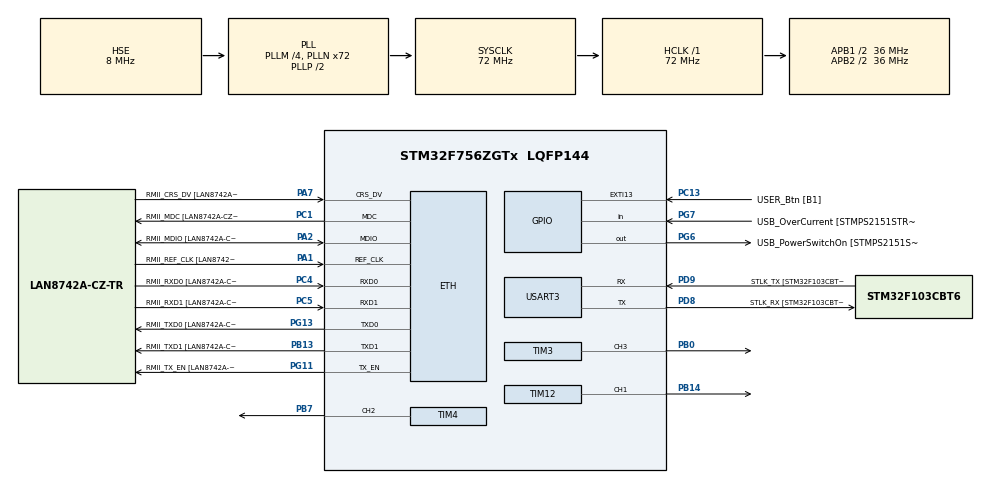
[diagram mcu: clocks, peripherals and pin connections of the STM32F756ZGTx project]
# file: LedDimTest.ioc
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ETH.MediaInterface=HAL_ETH_RMII_MODE
ETH.PHY_Name=LAN8742A_PHY_ADDRESS
ETH.PHY_Value=0
ETH.PhyAddress=0
Mcu.Family=STM32F7
Mcu.Name=STM32F756ZGTx
Mcu.Package=LQFP144
NVIC.PriorityGroup=NVIC_PRIORITYGROUP_4
NVIC.TIM3_IRQn=true\:0\:0\:false\:false\:true\:true\:true\:true
PA1.GPIO_Label=RMII_REF_CLK [LAN8742A-CZ-TR_REFCLK0]
PA1.Mode=RMII
PA1.Signal=ETH_REF_CLK
PA10.GPIO_Label=USB_ID
PA10.Signal=USB_OTG_FS_ID
PA11.GPIO_Label=USB_DM
PA11.Signal=USB_OTG_FS_DM
PA12.GPIO_Label=USB_DP
PA12.Signal=USB_OTG_FS_DP
PA13.GPIO_Label=TMS
PA13.Mode=Serial_Wire
PA13.Signal=SYS_JTMS-SWDIO
PA14.GPIO_Label=TCK
PA14.Mode=Serial_Wire
PA14.Signal=SYS_JTCK-SWCLK
PA2.GPIO_Label=RMII_MDIO [LAN8742A-CZ-TR_MDIO]
PA2.Mode=RMII
PA2.Signal=ETH_MDIO
PA7.GPIO_Label=RMII_CRS_DV [LAN8742A-CZ-TR_CRS_DV]
PA7.Mode=RMII
PA7.Signal=ETH_CRS_DV
PA8.GPIO_Label=USB_SOF [TP1]
PA8.Signal=USB_OTG_FS_SOF
PA9.GPIO_Label=USB_VBUS
PA9.Signal=USB_OTG_FS_VBUS
PB0.Signal=S_TIM3_CH3
PB13.GPIO_Label=RMII_TXD1 [LAN8742A-CZ-TR_TXD1]
PB13.Mode=RMII
PB13.Signal=ETH_TXD1
PB14.Signal=S_TIM12_CH1
PB3.GPIO_Label=SW0
PB3.Signal=SYS_JTDO-SWO
PB7.Signal=S_TIM4_CH2
PC1.GPIO_Label=RMII_MDC [LAN8742A-CZ-TR_MDC]
PC1.Mode=RMII
PC1.Signal=ETH_MDC
PC13.GPIO_Label=USER_Btn [B1]
PC13.Signal=GPXTI13
PC14/OSC32_IN.Mode=LSE-External-Oscillator
PC14/OSC32_IN.Signal=RCC_OSC32_IN
PC15/OSC32_OUT.Mode=LSE-External-Oscillator
PC15/OSC32_OUT.Signal=RCC_OSC32_OUT
PC4.GPIO_Label=RMII_RXD0 [LAN8742A-CZ-TR_RXD0]
PC4.Mode=RMII
PC4.Signal=ETH_RXD0
PC5.GPIO_Label=RMII_RXD1 [LAN8742A-CZ-TR_RXD1]
PC5.Mode=RMII
PC5.Signal=ETH_RXD1
PD8.GPIO_Label=STLK_RX [STM32F103CBT6_PA3]
PD8.Mode=Asynchronous
PD8.Signal=USART3_TX
PD9.GPIO_Label=STLK_TX [STM32F103CBT6_PA2]
PD9.Mode=Asynchronous
PD9.Signal=USART3_RX
PG11.GPIO_Label=RMII_TX_EN [LAN8742A-CZ-TR_TXEN]
PG11.Mode=RMII
PG11.Signal=ETH_TX_EN
PG13.GPIO_Label=RMII_TXD0 [LAN8742A-CZ-TR_TXD0]
PG13.Mode=RMII
PG13.Signal=ETH_TXD0
PG6.GPIO_Label=USB_PowerSwitchOn [STMPS2151STR_EN]
PG6.Signal=GPIO_Output
PG7.GPIO_Label=USB_OverCurrent [STMPS2151STR_FAULT]
PG7.Signal=GPIO_Input
PH0/OSC_IN.GPIO_Label=MCO [STM32F103CBT6_PA8]
PH0/OSC_IN.Mode=HSE-External-Clock-Source
PH0/OSC_IN.Signal=RCC_OSC_IN
PH1/OSC_OUT.Mode=HSE-External-Clock-Source
PH1/OSC_OUT.Signal=RCC_OSC_OUT
ProjectManager.HeapSize=0x200
ProjectManager.StackSize=0x400
ProjectManager.TargetToolchain=STM32CubeIDE
RCC.48MHZClocksFreq_Value=24000000
RCC.AHBFreq_Value=72000000
RCC.APB1CLKDivider=RCC_HCLK_DIV2
RCC.APB1Freq_Value=36000000
RCC.APB1TimFreq_Value=72000000
RCC.APB2CLKDivider=RCC_HCLK_DIV2
RCC.APB2Freq_Value=36000000
RCC.APB2TimFreq_Value=72000000
RCC.CortexFreq_Value=72000000
RCC.HCLKFreq_Value=72000000
RCC.HSE_VALUE=8000000
RCC.HSI_VALUE=16000000
RCC.PLLM=4
RCC.PLLMUL=RCC_PLL_MUL9
RCC.PLLN=72
RCC.PLLQ=3
RCC.PLLSourceVirtual=RCC_PLLSOURCE_HSE
RCC.PRESCALERUSB=RCC_USBCLKSOURCE_PLL_DIV1_5
RCC.SYSCLKFreq_VALUE=72000000
RCC.SYSCLKSource=RCC_SYSCLKSOURCE_PLLCLK
RCC.SYSCLKSourceVirtual=RCC_SYSCLKSOURCE_PLLCLK
RCC.USBFreq_Value=48000000
RCC.VCOOutputFreq_Value=144000000
SH.S_TIM12_CH1.0=TIM12_CH1,PWM Generation1 CH1
SH.S_TIM3_CH3.0=TIM3_CH3,PWM Generation3 CH3
SH.S_TIM4_CH2.0=TIM4_CH2,PWM Generation2 CH2
TIM12.AutoReloadPreload=TIM_AUTORELOAD_PRELOAD_ENABLE
TIM12.Channel-PWM\ Generation1\ CH1=TIM_CHANNEL_1
TIM12.Period=4095
TIM3.AutoReloadPreload=TIM_AUTORELOAD_PRELOAD_ENABLE
TIM3.Channel-PWM\ Generation3\ CH3=TIM_CHANNEL_3
TIM3.Period=4095
TIM4.AutoReloadPreload=TIM_AUTORELOAD_PRELOAD_ENABLE
TIM4.Channel-PWM\ Generation2\ CH2=TIM_CHANNEL_2
TIM4.Period=4095
USART3.VirtualMode-Asynchronous=VM_ASYNC
VP_TIM12_VS_ClockSourceINT.Mode=Internal
VP_TIM3_VS_ClockSourceINT.Mode=Internal
VP_TIM4_VS_ClockSourceINT.Mode=Internal
board=NUCLEO-F756ZG

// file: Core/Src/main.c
/* USER CODE BEGIN Header */
/**
  ******************************************************************************
  * @file           : main.c
  * @brief          : Main program body
  ******************************************************************************
  * @attention
  *
  * Copyright (c) 2023 STMicroelectronics.
  * All rights reserved.
  *
  * This software is licensed under terms that can be found in the LICENSE file
  * in the root directory of this software component.
  * If no LICENSE file comes with this software, it is provided AS-IS.
  *
  ******************************************************************************
  */
/* USER CODE END Header */
#include "main.h"
#include "string.h"

/* USER CODE BEGIN Includes */

#include <stdio.h>

/* USER CODE END Includes */

#if defined ( __ICCARM__ ) /*!< IAR Compiler */
#pragma location=0x2004c000
ETH_DMADescTypeDef  DMARxDscrTab[ETH_RX_DESC_CNT]; /* Ethernet Rx DMA Descriptors */
#pragma location=0x2004c0a0
ETH_DMADescTypeDef  DMATxDscrTab[ETH_TX_DESC_CNT]; /* Ethernet Tx DMA Descriptors */

#elif defined ( __CC_ARM )  /* MDK ARM Compiler */

__attribute__((at(0x2004c000))) ETH_DMADescTypeDef  DMARxDscrTab[ETH_RX_DESC_CNT]; /* Ethernet Rx DMA Descriptors */
__attribute__((at(0x2004c0a0))) ETH_DMADescTypeDef  DMATxDscrTab[ETH_TX_DESC_CNT]; /* Ethernet Tx DMA Descriptors */

#elif defined ( __GNUC__ ) /* GNU Compiler */
ETH_DMADescTypeDef DMARxDscrTab[ETH_RX_DESC_CNT] __attribute__((section(".RxDecripSection"))); /* Ethernet Rx DMA Descriptors */
ETH_DMADescTypeDef DMATxDscrTab[ETH_TX_DESC_CNT] __attribute__((section(".TxDecripSection")));   /* Ethernet Tx DMA Descriptors */

#endif

ETH_TxPacketConfig TxConfig;

ETH_HandleTypeDef heth;

TIM_HandleTypeDef htim3;
TIM_HandleTypeDef htim4;
TIM_HandleTypeDef htim12;

UART_HandleTypeDef huart3;

/* USER CODE BEGIN PV */

#ifdef __GNUC__
int __io_putchar(int ch)
#else
int fputc(int ch, FILE *f)
#endif
{
    HAL_UART_Transmit(&huart3, (uint8_t *)&ch, 1, 0xFFFF);

    return ch;
}
#ifdef __GNUC__
int _write(int file,char *ptr, int len)
{
    int DataIdx;
    for (DataIdx= 0; DataIdx< len; DataIdx++) {
        __io_putchar(*ptr++);
    }
    return len;
}
#endif

/* USER CODE END PV */

void SystemClock_Config(void);
static void MX_GPIO_Init(void);
static void MX_ETH_Init(void);
static void MX_TIM3_Init(void);
static void MX_TIM4_Init(void);
static void MX_TIM12_Init(void);
static void MX_USART3_UART_Init(void);

/* USER CODE BEGIN 0 */

float b[3] = {1, 2, 1}; // Numerator
float a[3] = {1, 1.69113816433026142860285290225874632597 , -0.732831786314550148730972978228237479925}; // Denominator:

float filterArrayA [3] = {0, 0, 0};

float IIRFilter (float filterarray[], float newSample){

  filterarray[0] = (newSample*a[0]) + (a[1]*filterarray[1]) + (a[2]*filterarray[2]);
  float out = ((b[0]*filterarray[0]) + (b[1]*filterarray[1]) + (b[2]*filterarray[2]));
  filterarray[2] = filterarray[1];
  filterarray[1] = filterarray[0];

  return out;
}

/* USER CODE END 0 */

int main(void)
{
  /* USER CODE BEGIN 1 */

	setvbuf(stdin, NULL, _IONBF, 0);
	setvbuf(stdout, NULL, _IONBF, 0);
	setvbuf(stderr, NULL, _IONBF, 0);

  /* USER CODE END 1 */

  /* MCU Configuration--------------------------------------------------------*/

  /* Reset of all peripherals, Initializes the Flash interface and the Systick. */
  HAL_Init();

  /* Configure the system clock */
  SystemClock_Config();

  /* Initialize all configured peripherals */
  MX_GPIO_Init();
  MX_ETH_Init();
  MX_TIM3_Init();
  MX_TIM4_Init();
  MX_TIM12_Init();
  MX_USART3_UART_Init();
  /* USER CODE BEGIN 2 */

  HAL_TIM_PWM_Start_IT(&htim3, TIM_CHANNEL_3);
  HAL_TIM_PWM_Start(&htim4, TIM_CHANNEL_2);
  HAL_TIM_PWM_Start(&htim12, TIM_CHANNEL_1);

  int sineLUT[360] =  { 128,130,132,134,136,139,141,143,
                        145,147,150,152,154,156,158,160,
                        163,165,167,169,171,173,175,177,
                        179,181,183,185,187,189,191,193,
                        195,197,199,201,202,204,206,208,
                        209,211,213,214,216,218,219,221,
                        222,224,225,227,228,229,231,232,
                        233,234,236,237,238,239,240,241,
                        242,243,244,245,246,247,247,248,
                        249,249,250,251,251,252,252,253,
                        253,253,254,254,254,255,255,255,
                        255,255,255,255,255,255,255,255,
                        254,254,254,253,253,253,252,252,
                        251,251,250,249,249,248,247,247,
                        246,245,244,243,242,241,240,239,
                        238,237,236,234,233,232,231,229,
                        228,227,225,224,222,221,219,218,
                        216,214,213,211,209,208,206,204,
                        202,201,199,197,195,193,191,189,
                        187,185,183,181,179,177,175,173,
                        171,169,167,165,163,160,158,156,
                        154,152,150,147,145,143,141,139,
                        136,134,132,130,128,125,123,121,
                        119,116,114,112,110,108,105,103,
                        101,99,97,95,92,90,88,86,
                        84,82,80,78,76,74,72,70,
                        68,66,64,62,60,58,56,54,
                        53,51,49,47,46,44,42,41,
                        39,37,36,34,33,31,30,28,
                        27,26,24,23,22,21,19,18,
                        17,16,15,14,13,12,11,10,
                        9,8,8,7,6,6,5,4,
                        4,3,3,2,2,2,1,1,
                        1,0,0,0,0,0,0,0,
                        0,0,0,0,1,1,1,2,
                        2,2,3,3,4,4,5,6,
                        6,7,8,8,9,10,11,12,
                        13,14,15,16,17,18,19,21,
                        22,23,24,26,27,28,30,31,
                        33,34,36,37,39,41,42,44,
                        46,47,49,51,53,54,56,58,
                        60,62,64,66,68,70,72,74,
                        76,78,80,82,84,86,88,90,
                        92,95,97,99,101,103,105,108,
                        110,112,114,116,119,121,123,125 };

  /* USER CODE END 2 */

  /* Infinite loop */
  while (1)
  {

	  for (int i = 0; i < 360; ++i){
		  if (i < 180){
			  printf("%d %d \n", (int)IIRFilter(filterArrayA, 1), 100);
		  }else {
			  printf("%d %d \n", (int)IIRFilter(filterArrayA, 0), 0);
		  }
		  HAL_Delay(25);
	  }

  }
}

void SystemClock_Config(void)
{
  RCC_OscInitTypeDef RCC_OscInitStruct = {0};
  RCC_ClkInitTypeDef RCC_ClkInitStruct = {0};

  /** Configure LSE Drive Capability
  */
  HAL_PWR_EnableBkUpAccess();

  /** Configure the main internal regulator output voltage
  */
  __HAL_RCC_PWR_CLK_ENABLE();
  __HAL_PWR_VOLTAGESCALING_CONFIG(PWR_REGULATOR_VOLTAGE_SCALE3);

  /** Initializes the RCC Oscillators according to the specified parameters
  * in the RCC_OscInitTypeDef structure.
  */
  RCC_OscInitStruct.OscillatorType = RCC_OSCILLATORTYPE_HSE;
  RCC_OscInitStruct.HSEState = RCC_HSE_BYPASS;
  RCC_OscInitStruct.PLL.PLLState = RCC_PLL_ON;
  RCC_OscInitStruct.PLL.PLLSource = RCC_PLLSOURCE_HSE;
  RCC_OscInitStruct.PLL.PLLM = 4;
  RCC_OscInitStruct.PLL.PLLN = 72;
  RCC_OscInitStruct.PLL.PLLP = RCC_PLLP_DIV2;
  RCC_OscInitStruct.PLL.PLLQ = 3;
  if (HAL_RCC_OscConfig(&RCC_OscInitStruct) != HAL_OK)
  {
    Error_Handler();
  }

  /** Initializes the CPU, AHB and APB buses clocks
  */
  RCC_ClkInitStruct.ClockType = RCC_CLOCKTYPE_HCLK|RCC_CLOCKTYPE_SYSCLK
                              |RCC_CLOCKTYPE_PCLK1|RCC_CLOCKTYPE_PCLK2;
  RCC_ClkInitStruct.SYSCLKSource = RCC_SYSCLKSOURCE_PLLCLK;
  RCC_ClkInitStruct.AHBCLKDivider = RCC_SYSCLK_DIV1;
  RCC_ClkInitStruct.APB1CLKDivider = RCC_HCLK_DIV2;
  RCC_ClkInitStruct.APB2CLKDivider = RCC_HCLK_DIV2;

  if (HAL_RCC_ClockConfig(&RCC_ClkInitStruct, FLASH_LATENCY_2) != HAL_OK)
  {
    Error_Handler();
  }
}

static void MX_ETH_Init(void)
{

   static uint8_t MACAddr[6];

  heth.Instance = ETH;
  MACAddr[0] = 0x00;
  MACAddr[1] = 0x80;
  MACAddr[2] = 0xE1;
  MACAddr[3] = 0x00;
  MACAddr[4] = 0x00;
  MACAddr[5] = 0x00;
  heth.Init.MACAddr = &MACAddr[0];
  heth.Init.MediaInterface = HAL_ETH_RMII_MODE;
  heth.Init.TxDesc = DMATxDscrTab;
  heth.Init.RxDesc = DMARxDscrTab;
  heth.Init.RxBuffLen = 1524;

  if (HAL_ETH_Init(&heth) != HAL_OK)
  {
    Error_Handler();
  }

  memset(&TxConfig, 0 , sizeof(ETH_TxPacketConfig));
  TxConfig.Attributes = ETH_TX_PACKETS_FEATURES_CSUM | ETH_TX_PACKETS_FEATURES_CRCPAD;
  TxConfig.ChecksumCtrl = ETH_CHECKSUM_IPHDR_PAYLOAD_INSERT_PHDR_CALC;
  TxConfig.CRCPadCtrl = ETH_CRC_PAD_INSERT;

}

static void MX_TIM3_Init(void)
{

  TIM_ClockConfigTypeDef sClockSourceConfig = {0};
  TIM_MasterConfigTypeDef sMasterConfig = {0};
  TIM_OC_InitTypeDef sConfigOC = {0};

  htim3.Instance = TIM3;
  htim3.Init.Prescaler = 0;
  htim3.Init.CounterMode = TIM_COUNTERMODE_UP;
  htim3.Init.Period = 4095;
  htim3.Init.ClockDivision = TIM_CLOCKDIVISION_DIV1;
  htim3.Init.AutoReloadPreload = TIM_AUTORELOAD_PRELOAD_ENABLE;
  if (HAL_TIM_Base_Init(&htim3) != HAL_OK)
  {
    Error_Handler();
  }
  sClockSourceConfig.ClockSource = TIM_CLOCKSOURCE_INTERNAL;
  if (HAL_TIM_ConfigClockSource(&htim3, &sClockSourceConfig) != HAL_OK)
  {
    Error_Handler();
  }
  if (HAL_TIM_PWM_Init(&htim3) != HAL_OK)
  {
    Error_Handler();
  }
  sMasterConfig.MasterOutputTrigger = TIM_TRGO_RESET;
  sMasterConfig.MasterSlaveMode = TIM_MASTERSLAVEMODE_DISABLE;
  if (HAL_TIMEx_MasterConfigSynchronization(&htim3, &sMasterConfig) != HAL_OK)
  {
    Error_Handler();
  }
  sConfigOC.OCMode = TIM_OCMODE_PWM1;
  sConfigOC.Pulse = 0;
  sConfigOC.OCPolarity = TIM_OCPOLARITY_HIGH;
  sConfigOC.OCFastMode = TIM_OCFAST_DISABLE;
  if (HAL_TIM_PWM_ConfigChannel(&htim3, &sConfigOC, TIM_CHANNEL_3) != HAL_OK)
  {
    Error_Handler();
  }
  HAL_TIM_MspPostInit(&htim3);

}

static void MX_TIM4_Init(void)
{

  TIM_ClockConfigTypeDef sClockSourceConfig = {0};
  TIM_MasterConfigTypeDef sMasterConfig = {0};
  TIM_OC_InitTypeDef sConfigOC = {0};

  htim4.Instance = TIM4;
  htim4.Init.Prescaler = 0;
  htim4.Init.CounterMode = TIM_COUNTERMODE_UP;
  htim4.Init.Period = 4095;
  htim4.Init.ClockDivision = TIM_CLOCKDIVISION_DIV1;
  htim4.Init.AutoReloadPreload = TIM_AUTORELOAD_PRELOAD_ENABLE;
  if (HAL_TIM_Base_Init(&htim4) != HAL_OK)
  {
    Error_Handler();
  }
  sClockSourceConfig.ClockSource = TIM_CLOCKSOURCE_INTERNAL;
  if (HAL_TIM_ConfigClockSource(&htim4, &sClockSourceConfig) != HAL_OK)
  {
    Error_Handler();
  }
  if (HAL_TIM_PWM_Init(&htim4) != HAL_OK)
  {
    Error_Handler();
  }
  sMasterConfig.MasterOutputTrigger = TIM_TRGO_RESET;
  sMasterConfig.MasterSlaveMode = TIM_MASTERSLAVEMODE_DISABLE;
  if (HAL_TIMEx_MasterConfigSynchronization(&htim4, &sMasterConfig) != HAL_OK)
  {
    Error_Handler();
  }
  sConfigOC.OCMode = TIM_OCMODE_PWM1;
  sConfigOC.Pulse = 0;
  sConfigOC.OCPolarity = TIM_OCPOLARITY_HIGH;
  sConfigOC.OCFastMode = TIM_OCFAST_DISABLE;
  if (HAL_TIM_PWM_ConfigChannel(&htim4, &sConfigOC, TIM_CHANNEL_2) != HAL_OK)
  {
    Error_Handler();
  }
  HAL_TIM_MspPostInit(&htim4);

}

static void MX_TIM12_Init(void)
{

  TIM_ClockConfigTypeDef sClockSourceConfig = {0};
  TIM_OC_InitTypeDef sConfigOC = {0};

  htim12.Instance = TIM12;
  htim12.Init.Prescaler = 0;
  htim12.Init.CounterMode = TIM_COUNTERMODE_UP;
  htim12.Init.Period = 4095;
  htim12.Init.ClockDivision = TIM_CLOCKDIVISION_DIV1;
  htim12.Init.AutoReloadPreload = TIM_AUTORELOAD_PRELOAD_ENABLE;
  if (HAL_TIM_Base_Init(&htim12) != HAL_OK)
  {
    Error_Handler();
  }
  sClockSourceConfig.ClockSource = TIM_CLOCKSOURCE_INTERNAL;
  if (HAL_TIM_ConfigClockSource(&htim12, &sClockSourceConfig) != HAL_OK)
  {
    Error_Handler();
  }
  if (HAL_TIM_PWM_Init(&htim12) != HAL_OK)
  {
    Error_Handler();
  }
  sConfigOC.OCMode = TIM_OCMODE_PWM1;
  sConfigOC.Pulse = 0;
  sConfigOC.OCPolarity = TIM_OCPOLARITY_HIGH;
  sConfigOC.OCFastMode = TIM_OCFAST_DISABLE;
  if (HAL_TIM_PWM_ConfigChannel(&htim12, &sConfigOC, TIM_CHANNEL_1) != HAL_OK)
  {
    Error_Handler();
  }
  HAL_TIM_MspPostInit(&htim12);

}

static void MX_USART3_UART_Init(void)
{

  huart3.Instance = USART3;
  huart3.Init.BaudRate = 115200;
  huart3.Init.WordLength = UART_WORDLENGTH_8B;
  huart3.Init.StopBits = UART_STOPBITS_1;
  huart3.Init.Parity = UART_PARITY_NONE;
  huart3.Init.Mode = UART_MODE_TX_RX;
  huart3.Init.HwFlowCtl = UART_HWCONTROL_NONE;
  huart3.Init.OverSampling = UART_OVERSAMPLING_16;
  huart3.Init.OneBitSampling = UART_ONE_BIT_SAMPLE_DISABLE;
  huart3.AdvancedInit.AdvFeatureInit = UART_ADVFEATURE_NO_INIT;
  if (HAL_UART_Init(&huart3) != HAL_OK)
  {
    Error_Handler();
  }

}

static void MX_GPIO_Init(void)
{
  GPIO_InitTypeDef GPIO_InitStruct = {0};

  /* GPIO Ports Clock Enable */
  __HAL_RCC_GPIOC_CLK_ENABLE();
  __HAL_RCC_GPIOH_CLK_ENABLE();
  __HAL_RCC_GPIOA_CLK_ENABLE();
  __HAL_RCC_GPIOB_CLK_ENABLE();
  __HAL_RCC_GPIOD_CLK_ENABLE();
  __HAL_RCC_GPIOG_CLK_ENABLE();

  /*Configure GPIO pin Output Level */
  HAL_GPIO_WritePin(USB_PowerSwitchOn_GPIO_Port, USB_PowerSwitchOn_Pin, GPIO_PIN_RESET);

  /*Configure GPIO pin : USER_Btn_Pin */
  GPIO_InitStruct.Pin = USER_Btn_Pin;
  GPIO_InitStruct.Mode = GPIO_MODE_IT_RISING;
  GPIO_InitStruct.Pull = GPIO_NOPULL;
  HAL_GPIO_Init(USER_Btn_GPIO_Port, &GPIO_InitStruct);

  /*Configure GPIO pin : USB_PowerSwitchOn_Pin */
  GPIO_InitStruct.Pin = USB_PowerSwitchOn_Pin;
  GPIO_InitStruct.Mode = GPIO_MODE_OUTPUT_PP;
  GPIO_InitStruct.Pull = GPIO_NOPULL;
  GPIO_InitStruct.Speed = GPIO_SPEED_FREQ_LOW;
  HAL_GPIO_Init(USB_PowerSwitchOn_GPIO_Port, &GPIO_InitStruct);

  /*Configure GPIO pin : USB_OverCurrent_Pin */
  GPIO_InitStruct.Pin = USB_OverCurrent_Pin;
  GPIO_InitStruct.Mode = GPIO_MODE_INPUT;
  GPIO_InitStruct.Pull = GPIO_NOPULL;
  HAL_GPIO_Init(USB_OverCurrent_GPIO_Port, &GPIO_InitStruct);

  /*Configure GPIO pins : USB_SOF_Pin USB_ID_Pin USB_DM_Pin USB_DP_Pin */
  GPIO_InitStruct.Pin = USB_SOF_Pin|USB_ID_Pin|USB_DM_Pin|USB_DP_Pin;
  GPIO_InitStruct.Mode = GPIO_MODE_AF_PP;
  GPIO_InitStruct.Pull = GPIO_NOPULL;
  GPIO_InitStruct.Speed = GPIO_SPEED_FREQ_VERY_HIGH;
  GPIO_InitStruct.Alternate = GPIO_AF10_OTG_FS;
  HAL_GPIO_Init(GPIOA, &GPIO_InitStruct);

  /*Configure GPIO pin : USB_VBUS_Pin */
  GPIO_InitStruct.Pin = USB_VBUS_Pin;
  GPIO_InitStruct.Mode = GPIO_MODE_INPUT;
  GPIO_InitStruct.Pull = GPIO_NOPULL;
  HAL_GPIO_Init(USB_VBUS_GPIO_Port, &GPIO_InitStruct);

}

void Error_Handler(void)
{
  __disable_irq();
  while (1)
  {
  }
}
